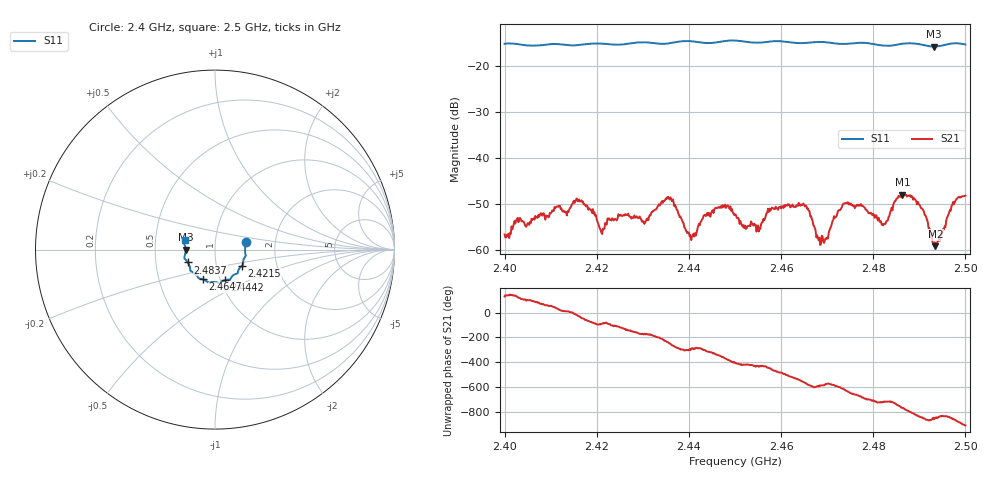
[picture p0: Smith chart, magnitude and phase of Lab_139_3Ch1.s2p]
# Hz S RI R 50
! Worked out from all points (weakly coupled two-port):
!   601 points, 2.4 GHz to 2.5 GHz, reference 50 ohm
!   highest |S21| = -47.93 dB at 2.4863 GHz (marker M1); lowest = -59.2 dB at 2.4935 GHz (marker M2)
!   lowest |S11| = -15.7 dB at 2.4932 GHz (marker M3), VSWR 1.39, Z = 35.9 - j0.0541 ohm
!   |S11| at or under -10 dB: start of sweep to end of sweep
!   S12 and S22 are empty: the file has one direction only
!   S11 on the Smith chart (normalised r, x): 2.4 GHz: 1.41, +0.12; 2.4215 GHz: 1.33, -0.25; 2.4442 GHz: 1.05, -0.37; 2.4647 GHz: 0.83, -0.28; 2.4837 GHz: 0.73, -0.11; 2.5 GHz: 0.71, +0.07
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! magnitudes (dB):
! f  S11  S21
! 2.4 GHz  -15.1  -56.6
! 2.4167 GHz  -15.3  -49.2
! 2.4215 GHz  -15.1  -55.5
! 2.4333 GHz  -15.1  -50.3
! 2.436 GHz  -15.0  -48.6
! 2.4407 GHz  -14.6  -57.1
! 2.4442 GHz  -15.0  -52.5
! 2.45 GHz  -14.4  -52.3
! 2.4552 GHz  -14.9  -56.0
! 2.4577 GHz  -14.6  -51.5
! 2.4647 GHz  -15.0  -50.0
! 2.4667 GHz  -14.8  -53.2
! 2.469 GHz  -14.7  -57.1
! 2.474 GHz  -15.1  -49.8
! 2.4833 GHz  -15.6  -52.8
! 2.4837 GHz  -15.5  -51.8
! 2.4863 GHz  -15.1  -47.9
! 2.4905 GHz  -15.3  -50.9
! 2.4932 GHz  -15.7  -59.1
! 2.4935 GHz  -15.7  -59.2
! 2.4975 GHz  -15.0  -50.1
! 2.5 GHz  -15.3  -48.2
